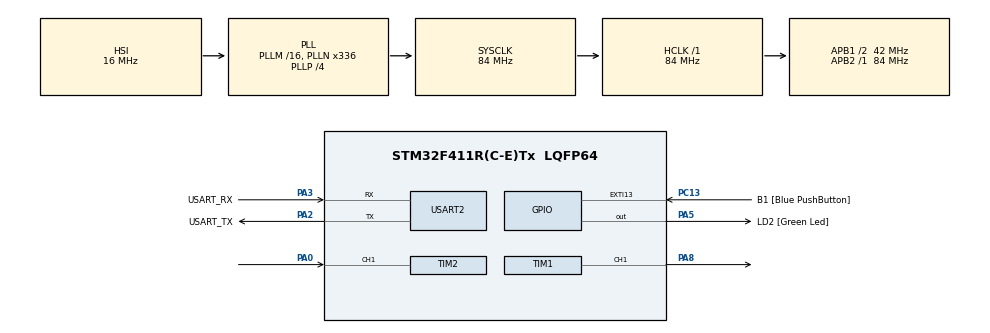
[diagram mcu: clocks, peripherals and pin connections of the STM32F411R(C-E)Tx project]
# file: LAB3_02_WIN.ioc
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Dma.Request0=TIM2_CH1
Dma.TIM2_CH1.0.Direction=DMA_PERIPH_TO_MEMORY
Dma.TIM2_CH1.0.FIFOMode=DMA_FIFOMODE_DISABLE
Dma.TIM2_CH1.0.Instance=DMA1_Stream5
Dma.TIM2_CH1.0.MemDataAlignment=DMA_MDATAALIGN_WORD
Dma.TIM2_CH1.0.MemInc=DMA_MINC_ENABLE
Dma.TIM2_CH1.0.Mode=DMA_CIRCULAR
Dma.TIM2_CH1.0.PeriphDataAlignment=DMA_PDATAALIGN_WORD
Dma.TIM2_CH1.0.PeriphInc=DMA_PINC_DISABLE
Dma.TIM2_CH1.0.Priority=DMA_PRIORITY_LOW
Mcu.Family=STM32F4
Mcu.Name=STM32F411R(C-E)Tx
Mcu.Package=LQFP64
NVIC.DMA1_Stream5_IRQn=true\:0\:0\:false\:false\:true\:false\:true\:true
NVIC.PriorityGroup=NVIC_PRIORITYGROUP_0
PA0-WKUP.Signal=S_TIM2_CH1_ETR
PA13.GPIO_Label=TMS
PA13.Mode=Serial_Wire
PA13.Signal=SYS_JTMS-SWDIO
PA14.GPIO_Label=TCK
PA14.Mode=Serial_Wire
PA14.Signal=SYS_JTCK-SWCLK
PA2.GPIO_Label=USART_TX
PA2.Mode=Asynchronous
PA2.Signal=USART2_TX
PA3.GPIO_Label=USART_RX
PA3.Mode=Asynchronous
PA3.Signal=USART2_RX
PA5.GPIO_Label=LD2 [Green Led]
PA5.Signal=GPIO_Output
PA8.Signal=S_TIM1_CH1
PB3.GPIO_Label=SWO
PB3.Signal=SYS_JTDO-SWO
PC13-ANTI_TAMP.GPIO_Label=B1 [Blue PushButton]
PC13-ANTI_TAMP.GPIO_ModeDefaultEXTI=GPIO_MODE_IT_FALLING
PC13-ANTI_TAMP.Signal=GPXTI13
PC14-OSC32_IN.Mode=LSE-External-Oscillator
PC14-OSC32_IN.Signal=RCC_OSC32_IN
PC15-OSC32_OUT.Mode=LSE-External-Oscillator
PC15-OSC32_OUT.Signal=RCC_OSC32_OUT
PH0\ -\ OSC_IN.Mode=HSE-External-Clock-Source
PH0\ -\ OSC_IN.Signal=RCC_OSC_IN
PH1\ -\ OSC_OUT.Mode=HSE-External-Clock-Source
PH1\ -\ OSC_OUT.Signal=RCC_OSC_OUT
ProjectManager.HeapSize=0x200
ProjectManager.StackSize=0x400
ProjectManager.TargetToolchain=STM32CubeIDE
RCC.48MHZClocksFreq_Value=84000000
RCC.AHBFreq_Value=84000000
RCC.APB1CLKDivider=RCC_HCLK_DIV2
RCC.APB1Freq_Value=42000000
RCC.APB1TimFreq_Value=84000000
RCC.APB2Freq_Value=84000000
RCC.APB2TimFreq_Value=84000000
RCC.CortexFreq_Value=84000000
RCC.FLatency-AdvancedSettings=FLASH_LATENCY_2
RCC.HCLKFreq_Value=84000000
RCC.HSE_VALUE=8000000
RCC.HSI_VALUE=16000000
RCC.PLLN=336
RCC.PLLP=RCC_PLLP_DIV4
RCC.SYSCLKFreq_VALUE=84000000
RCC.SYSCLKSource=RCC_SYSCLKSOURCE_PLLCLK
RCC.VCOOutputFreq_Value=336000000
SH.S_TIM1_CH1.0=TIM1_CH1,PWM Generation1 CH1
SH.S_TIM2_CH1_ETR.0=TIM2_CH1,Input_Capture1_from_TI1
TIM1.Channel-PWM\ Generation1\ CH1=TIM_CHANNEL_1
TIM1.Period=1000
TIM1.Prescaler=83
TIM1.Pulse-PWM\ Generation1\ CH1=500
TIM2.Channel-Input_Capture1_from_TI1=TIM_CHANNEL_1
TIM2.Prescaler=83
USART2.VirtualMode=VM_ASYNC
VP_TIM1_VS_ClockSourceINT.Mode=Internal
VP_TIM2_VS_ClockSourceINT.Mode=Internal
board=NUCLEO-F411RE

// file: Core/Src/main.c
/* USER CODE BEGIN Header */
/**
 ******************************************************************************
 * @file           : main.c
 * @brief          : Main program body
 ******************************************************************************
 * @attention
 *
 * <h2><center>&copy; Copyright (c) 2023 STMicroelectronics.
 * All rights reserved.</center></h2>
 *
 * This software component is licensed by ST under BSD 3-Clause license,
 * the "License"; You may not use this file except in compliance with the
 * License. You may obtain a copy of the License at:
 *                        opensource.org/licenses/BSD-3-Clause
 *
 ******************************************************************************
 */
/* USER CODE END Header */
#include "main.h"

/* USER CODE BEGIN Includes */
#define IC_BUFFER_SIZE 20
/* USER CODE END Includes */

TIM_HandleTypeDef htim1;
TIM_HandleTypeDef htim2;
DMA_HandleTypeDef hdma_tim2_ch1;

UART_HandleTypeDef huart2;

/* USER CODE BEGIN PV */
uint32_t InputCaptureBuffer[IC_BUFFER_SIZE];
float averageRisingedgePeriod;
float motor_rpm;
float duty = 0;
uint16_t MotorSetRPM;
int MotorControlEnable;

/* USER CODE END PV */

void SystemClock_Config(void);
static void MX_GPIO_Init(void);
static void MX_DMA_Init(void);
static void MX_USART2_UART_Init(void);
static void MX_TIM2_Init(void);
static void MX_TIM1_Init(void);
/* USER CODE BEGIN PFP */
float IC_Calc_Period();
float RPMCONVERT();
void RPMCONTROL();
/* USER CODE END PFP */

int main(void)
{

  /* MCU Configuration--------------------------------------------------------*/

  /* Reset of all peripherals, Initializes the Flash interface and the Systick. */
  HAL_Init();

  /* Configure the system clock */
  SystemClock_Config();

  /* Initialize all configured peripherals */
  MX_GPIO_Init();
  MX_DMA_Init();
  MX_USART2_UART_Init();
  MX_TIM2_Init();
  MX_TIM1_Init();
  /* USER CODE BEGIN 2 */
	HAL_TIM_Base_Start(&htim2);
	HAL_TIM_IC_Start_DMA(&htim2, TIM_CHANNEL_1, InputCaptureBuffer,
			IC_BUFFER_SIZE);
	HAL_TIM_Base_Start(&htim1);
	HAL_TIM_PWM_Start(&htim1, TIM_CHANNEL_1);

  /* USER CODE END 2 */

  /* Infinite loop */
  /* USER CODE BEGIN WHILE */
	__HAL_TIM_SET_COMPARE(&htim1, TIM_CHANNEL_1, 0);
	duty = 0;
	motor_rpm = 0;
	averageRisingedgePeriod = 0;
	while (1) {
    /* USER CODE END WHILE */

    /* USER CODE BEGIN 3 */
		//+- 1 rpm
		if (MotorControlEnable == 1) {
			RPMCONTROL();
			if (duty > 100) duty=100;
			if (duty < 0) duty = 0;
			averageRisingedgePeriod = IC_Calc_Period();
			RPMCONVERT();
			__HAL_TIM_SET_COMPARE(&htim1, TIM_CHANNEL_1, duty * 10);
		}
		if (MotorControlEnable == 0) {
			static uint32_t timestamp = 0;
			if (HAL_GetTick() >= timestamp) {
				timestamp = HAL_GetTick() + 500;
				averageRisingedgePeriod = IC_Calc_Period();
				RPMCONVERT();
				__HAL_TIM_SET_COMPARE(&htim1, TIM_CHANNEL_1, duty * 10);
			}
		}

	}
  /* USER CODE END 3 */
}

void SystemClock_Config(void)
{
  RCC_OscInitTypeDef RCC_OscInitStruct = {0};
  RCC_ClkInitTypeDef RCC_ClkInitStruct = {0};

  /** Configure the main internal regulator output voltage
  */
  __HAL_RCC_PWR_CLK_ENABLE();
  __HAL_PWR_VOLTAGESCALING_CONFIG(PWR_REGULATOR_VOLTAGE_SCALE1);

  /** Initializes the RCC Oscillators according to the specified parameters
  * in the RCC_OscInitTypeDef structure.
  */
  RCC_OscInitStruct.OscillatorType = RCC_OSCILLATORTYPE_HSI;
  RCC_OscInitStruct.HSIState = RCC_HSI_ON;
  RCC_OscInitStruct.HSICalibrationValue = RCC_HSICALIBRATION_DEFAULT;
  RCC_OscInitStruct.PLL.PLLState = RCC_PLL_ON;
  RCC_OscInitStruct.PLL.PLLSource = RCC_PLLSOURCE_HSI;
  RCC_OscInitStruct.PLL.PLLM = 16;
  RCC_OscInitStruct.PLL.PLLN = 336;
  RCC_OscInitStruct.PLL.PLLP = RCC_PLLP_DIV4;
  RCC_OscInitStruct.PLL.PLLQ = 4;
  if (HAL_RCC_OscConfig(&RCC_OscInitStruct) != HAL_OK)
  {
    Error_Handler();
  }

  /** Initializes the CPU, AHB and APB buses clocks
  */
  RCC_ClkInitStruct.ClockType = RCC_CLOCKTYPE_HCLK|RCC_CLOCKTYPE_SYSCLK
                              |RCC_CLOCKTYPE_PCLK1|RCC_CLOCKTYPE_PCLK2;
  RCC_ClkInitStruct.SYSCLKSource = RCC_SYSCLKSOURCE_PLLCLK;
  RCC_ClkInitStruct.AHBCLKDivider = RCC_SYSCLK_DIV1;
  RCC_ClkInitStruct.APB1CLKDivider = RCC_HCLK_DIV2;
  RCC_ClkInitStruct.APB2CLKDivider = RCC_HCLK_DIV1;

  if (HAL_RCC_ClockConfig(&RCC_ClkInitStruct, FLASH_LATENCY_2) != HAL_OK)
  {
    Error_Handler();
  }
}

static void MX_TIM1_Init(void)
{

  TIM_ClockConfigTypeDef sClockSourceConfig = {0};
  TIM_MasterConfigTypeDef sMasterConfig = {0};
  TIM_OC_InitTypeDef sConfigOC = {0};
  TIM_BreakDeadTimeConfigTypeDef sBreakDeadTimeConfig = {0};

  htim1.Instance = TIM1;
  htim1.Init.Prescaler = 83;
  htim1.Init.CounterMode = TIM_COUNTERMODE_UP;
  htim1.Init.Period = 1000;
  htim1.Init.ClockDivision = TIM_CLOCKDIVISION_DIV1;
  htim1.Init.RepetitionCounter = 0;
  htim1.Init.AutoReloadPreload = TIM_AUTORELOAD_PRELOAD_DISABLE;
  if (HAL_TIM_Base_Init(&htim1) != HAL_OK)
  {
    Error_Handler();
  }
  sClockSourceConfig.ClockSource = TIM_CLOCKSOURCE_INTERNAL;
  if (HAL_TIM_ConfigClockSource(&htim1, &sClockSourceConfig) != HAL_OK)
  {
    Error_Handler();
  }
  if (HAL_TIM_PWM_Init(&htim1) != HAL_OK)
  {
    Error_Handler();
  }
  sMasterConfig.MasterOutputTrigger = TIM_TRGO_RESET;
  sMasterConfig.MasterSlaveMode = TIM_MASTERSLAVEMODE_DISABLE;
  if (HAL_TIMEx_MasterConfigSynchronization(&htim1, &sMasterConfig) != HAL_OK)
  {
    Error_Handler();
  }
  sConfigOC.OCMode = TIM_OCMODE_PWM1;
  sConfigOC.Pulse = 500;
  sConfigOC.OCPolarity = TIM_OCPOLARITY_HIGH;
  sConfigOC.OCNPolarity = TIM_OCNPOLARITY_HIGH;
  sConfigOC.OCFastMode = TIM_OCFAST_DISABLE;
  sConfigOC.OCIdleState = TIM_OCIDLESTATE_RESET;
  sConfigOC.OCNIdleState = TIM_OCNIDLESTATE_RESET;
  if (HAL_TIM_PWM_ConfigChannel(&htim1, &sConfigOC, TIM_CHANNEL_1) != HAL_OK)
  {
    Error_Handler();
  }
  sBreakDeadTimeConfig.OffStateRunMode = TIM_OSSR_DISABLE;
  sBreakDeadTimeConfig.OffStateIDLEMode = TIM_OSSI_DISABLE;
  sBreakDeadTimeConfig.LockLevel = TIM_LOCKLEVEL_OFF;
  sBreakDeadTimeConfig.DeadTime = 0;
  sBreakDeadTimeConfig.BreakState = TIM_BREAK_DISABLE;
  sBreakDeadTimeConfig.BreakPolarity = TIM_BREAKPOLARITY_HIGH;
  sBreakDeadTimeConfig.AutomaticOutput = TIM_AUTOMATICOUTPUT_DISABLE;
  if (HAL_TIMEx_ConfigBreakDeadTime(&htim1, &sBreakDeadTimeConfig) != HAL_OK)
  {
    Error_Handler();
  }
  HAL_TIM_MspPostInit(&htim1);

}

static void MX_TIM2_Init(void)
{

  TIM_ClockConfigTypeDef sClockSourceConfig = {0};
  TIM_MasterConfigTypeDef sMasterConfig = {0};
  TIM_IC_InitTypeDef sConfigIC = {0};

  htim2.Instance = TIM2;
  htim2.Init.Prescaler = 83;
  htim2.Init.CounterMode = TIM_COUNTERMODE_UP;
  htim2.Init.Period = 4294967295;
  htim2.Init.ClockDivision = TIM_CLOCKDIVISION_DIV1;
  htim2.Init.AutoReloadPreload = TIM_AUTORELOAD_PRELOAD_DISABLE;
  if (HAL_TIM_Base_Init(&htim2) != HAL_OK)
  {
    Error_Handler();
  }
  sClockSourceConfig.ClockSource = TIM_CLOCKSOURCE_INTERNAL;
  if (HAL_TIM_ConfigClockSource(&htim2, &sClockSourceConfig) != HAL_OK)
  {
    Error_Handler();
  }
  if (HAL_TIM_IC_Init(&htim2) != HAL_OK)
  {
    Error_Handler();
  }
  sMasterConfig.MasterOutputTrigger = TIM_TRGO_RESET;
  sMasterConfig.MasterSlaveMode = TIM_MASTERSLAVEMODE_DISABLE;
  if (HAL_TIMEx_MasterConfigSynchronization(&htim2, &sMasterConfig) != HAL_OK)
  {
    Error_Handler();
  }
  sConfigIC.ICPolarity = TIM_INPUTCHANNELPOLARITY_RISING;
  sConfigIC.ICSelection = TIM_ICSELECTION_DIRECTTI;
  sConfigIC.ICPrescaler = TIM_ICPSC_DIV1;
  sConfigIC.ICFilter = 0;
  if (HAL_TIM_IC_ConfigChannel(&htim2, &sConfigIC, TIM_CHANNEL_1) != HAL_OK)
  {
    Error_Handler();
  }

}

static void MX_USART2_UART_Init(void)
{

  huart2.Instance = USART2;
  huart2.Init.BaudRate = 115200;
  huart2.Init.WordLength = UART_WORDLENGTH_8B;
  huart2.Init.StopBits = UART_STOPBITS_1;
  huart2.Init.Parity = UART_PARITY_NONE;
  huart2.Init.Mode = UART_MODE_TX_RX;
  huart2.Init.HwFlowCtl = UART_HWCONTROL_NONE;
  huart2.Init.OverSampling = UART_OVERSAMPLING_16;
  if (HAL_UART_Init(&huart2) != HAL_OK)
  {
    Error_Handler();
  }

}

static void MX_DMA_Init(void)
{

  /* DMA controller clock enable */
  __HAL_RCC_DMA1_CLK_ENABLE();

  /* DMA interrupt init */
  /* DMA1_Stream5_IRQn interrupt configuration */
  HAL_NVIC_SetPriority(DMA1_Stream5_IRQn, 0, 0);
  HAL_NVIC_EnableIRQ(DMA1_Stream5_IRQn);

}

static void MX_GPIO_Init(void)
{
  GPIO_InitTypeDef GPIO_InitStruct = {0};

  /* GPIO Ports Clock Enable */
  __HAL_RCC_GPIOC_CLK_ENABLE();
  __HAL_RCC_GPIOH_CLK_ENABLE();
  __HAL_RCC_GPIOA_CLK_ENABLE();
  __HAL_RCC_GPIOB_CLK_ENABLE();

  /*Configure GPIO pin Output Level */
  HAL_GPIO_WritePin(LD2_GPIO_Port, LD2_Pin, GPIO_PIN_RESET);

  /*Configure GPIO pin : B1_Pin */
  GPIO_InitStruct.Pin = B1_Pin;
  GPIO_InitStruct.Mode = GPIO_MODE_IT_FALLING;
  GPIO_InitStruct.Pull = GPIO_NOPULL;
  HAL_GPIO_Init(B1_GPIO_Port, &GPIO_InitStruct);

  /*Configure GPIO pin : LD2_Pin */
  GPIO_InitStruct.Pin = LD2_Pin;
  GPIO_InitStruct.Mode = GPIO_MODE_OUTPUT_PP;
  GPIO_InitStruct.Pull = GPIO_NOPULL;
  GPIO_InitStruct.Speed = GPIO_SPEED_FREQ_LOW;
  HAL_GPIO_Init(LD2_GPIO_Port, &GPIO_InitStruct);

}

/* USER CODE BEGIN 4 */
float IC_Calc_Period() {
	uint32_t currentDMAPointer = IC_BUFFER_SIZE
			- __HAL_DMA_GET_COUNTER((htim2.hdma[1]));

	uint32_t lastVaildDMAPointer = (currentDMAPointer - 1 + IC_BUFFER_SIZE)
			% IC_BUFFER_SIZE;

	uint32_t i = (lastVaildDMAPointer + IC_BUFFER_SIZE - 6) % IC_BUFFER_SIZE;

	int32_t sumdiff = 0;
	while (i != lastVaildDMAPointer) {
		uint32_t firstCapture = InputCaptureBuffer[i];

		uint32_t NextCapture = InputCaptureBuffer[(i + 1) % IC_BUFFER_SIZE];
		sumdiff += NextCapture - firstCapture;
		i = (i + 1) % IC_BUFFER_SIZE;
	}
	return sumdiff / 5.0;
}

float RPMCONVERT() {
	motor_rpm = (60 * 1000000) / (12 * averageRisingedgePeriod * 64);
}

void RPMCONTROL()
{
	if ( motor_rpm >= MotorSetRPM) {
		duty -= 0.00015;
	}

	else if ( motor_rpm < MotorSetRPM){
		duty += 0.00015;
	}
}

/* USER CODE END 4 */

void Error_Handler(void)
{
	__disable_irq();
	while (1) {
	}
}
